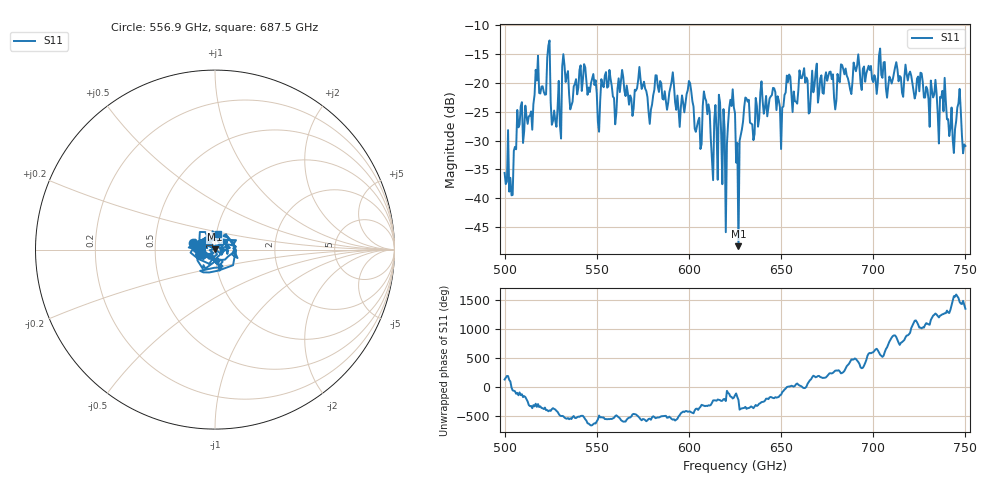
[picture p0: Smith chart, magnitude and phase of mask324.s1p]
!Created with skrf (http://scikit-rf.org).
# GHz S MA R 50.0
!freq magS11 angS11
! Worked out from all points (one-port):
!   401 points, 500 GHz to 750 GHz, reference 50 ohm
!   lowest |S11| = -48.3 dB at 626.9 GHz (marker M1), VSWR 1.01, Z = 49.7 + j0.272 ohm
!   |S11| at or under -10 dB: start of sweep to end of sweep
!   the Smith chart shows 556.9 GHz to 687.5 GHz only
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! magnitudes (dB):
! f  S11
! 500 GHz  -35.6
! 503.8 GHz  -39.5
! 508.1 GHz  -27.2
! 513.8 GHz  -25.7
! 517.5 GHz  -19.6
! 523.8 GHz  -13.5
! 526.9 GHz  -24.8
! 531.2 GHz  -17.2
! 562.5 GHz  -21.6
! 593.8 GHz  -22.2
! 600 GHz  -19.7
! 605.6 GHz  -26.1
! 609.4 GHz  -23.2
! 612.5 GHz  -33.2
! 617.5 GHz  -28.8
! 619.4 GHz  -28.1
! 622.5 GHz  -22.9
! 625 GHz  -25.2
! 626.9 GHz  -48.3
! 631.2 GHz  -22.7
! 634.4 GHz  -27.2
! 656.2 GHz  -25.1
! 687.5 GHz  -21.2
! 718.8 GHz  -19.6
! 738.1 GHz  -24.9
! 742.5 GHz  -24.3
! 746.2 GHz  -23.5
! 750 GHz  -30.9
